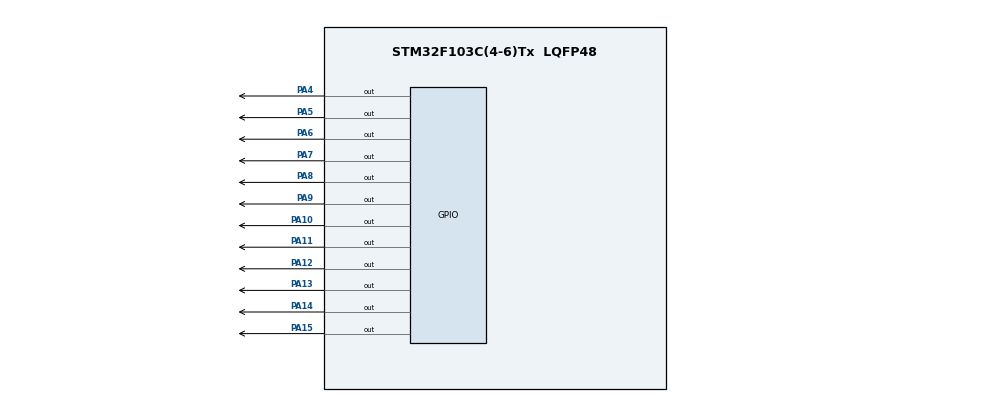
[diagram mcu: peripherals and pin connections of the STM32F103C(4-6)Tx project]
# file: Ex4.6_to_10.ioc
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Mcu.Family=STM32F1
Mcu.Name=STM32F103C(4-6)Tx
Mcu.Package=LQFP48
NVIC.PriorityGroup=NVIC_PRIORITYGROUP_4
PA10.Signal=GPIO_Output
PA11.Signal=GPIO_Output
PA12.Signal=GPIO_Output
PA13.Signal=GPIO_Output
PA14.Signal=GPIO_Output
PA15.Signal=GPIO_Output
PA4.Signal=GPIO_Output
PA5.Signal=GPIO_Output
PA6.Signal=GPIO_Output
PA7.Signal=GPIO_Output
PA8.Signal=GPIO_Output
PA9.Signal=GPIO_Output
PD0-OSC_IN.Mode=HSE-External-Oscillator
PD0-OSC_IN.Signal=RCC_OSC_IN
PD1-OSC_OUT.Mode=HSE-External-Oscillator
PD1-OSC_OUT.Signal=RCC_OSC_OUT
ProjectManager.HeapSize=0x200
ProjectManager.StackSize=0x400
ProjectManager.TargetToolchain=STM32CubeIDE
RCC.APB1Freq_Value=8000000
RCC.APB2Freq_Value=8000000
VP_SYS_VS_ND.Mode=No_Debug
board=custom

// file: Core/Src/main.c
/* USER CODE BEGIN Header */
/**
 ******************************************************************************
 * @file           : main.c
 * @brief          : Main program body
 ******************************************************************************
 * @attention
 *
 * <h2><center>&copy; Copyright (c) 2021 STMicroelectronics.
 * All rights reserved.</center></h2>
 *
 * This software component is licensed by ST under BSD 3-Clause license,
 * the "License"; You may not use this file except in compliance with the
 * License. You may obtain a copy of the License at:
 *                        opensource.org/licenses/BSD-3-Clause
 *
 ******************************************************************************
 */
/* USER CODE END Header */
#include "main.h"

void SystemClock_Config(void);
static void MX_GPIO_Init(void);

/* USER CODE BEGIN 0 */

const uint8_t hours[12][2] = { { 0x7D, 0x08 }, { 0x7B, 0x10 }, { 0x77, 0x10 }, {
		0x6F, 0x10 }, { 0x5F, 0x08 }, { 0x5F, 0x04 }, { 0x5F, 0x02 }, { 0x6F,
		0x01 }, { 0x77, 0x01 }, { 0x7B, 0x01 }, { 0x7D, 0x02 }, { 0x7D, 0x04 } };

void displayRow(uint8_t number) {
	HAL_GPIO_WritePin(GPIOA, GPIO_PIN_9, (number >> 0) & 0x01);
	HAL_GPIO_WritePin(GPIOA, GPIO_PIN_10, (number >> 1) & 0x01);
	HAL_GPIO_WritePin(GPIOA, GPIO_PIN_11, (number >> 2) & 0x01);
	HAL_GPIO_WritePin(GPIOA, GPIO_PIN_12, (number >> 3) & 0x01);
	HAL_GPIO_WritePin(GPIOA, GPIO_PIN_13, (number >> 4) & 0x01);
	HAL_GPIO_WritePin(GPIOA, GPIO_PIN_14, (number >> 5) & 0x01);
	HAL_GPIO_WritePin(GPIOA, GPIO_PIN_15, (number >> 6) & 0x01);
}
void displayCol(uint8_t number) {
	HAL_GPIO_WritePin(GPIOA, GPIO_PIN_4, (number >> 0) & 0x01);
	HAL_GPIO_WritePin(GPIOA, GPIO_PIN_5, (number >> 1) & 0x01);
	HAL_GPIO_WritePin(GPIOA, GPIO_PIN_6, (number >> 2) & 0x01);
	HAL_GPIO_WritePin(GPIOA, GPIO_PIN_7, (number >> 3) & 0x01);
	HAL_GPIO_WritePin(GPIOA, GPIO_PIN_8, (number >> 4) & 0x01);
}

const uint8_t row[7] = { 0xFE, 0xFD, 0xFB, 0xF7, 0xEF, 0xDF, 0xBF };
const uint8_t col[7] = { 0x00, 0x0E, 0x11, 0x11, 0x11, 0x0E, 0x00 };

void clearAllClock() {
	for (int i = 0; i < 7; i++) {
		displayRow(row[i]);
		displayCol(col[i]);
		HAL_Delay(1);
	}
}

void setNumberOnClock(int num) {
	displayRow(hours[num][0]);
	displayCol(hours[num][1]);
}

void clearNumberOnClock(int num) {
	switch (num) {
	case 0: {
		HAL_GPIO_WritePin(GPIOA, GPIO_PIN_7, GPIO_PIN_RESET);
		HAL_GPIO_WritePin(GPIOA, GPIO_PIN_10, GPIO_PIN_SET);
		break;
	}
	case 1: {
		HAL_GPIO_WritePin(GPIOA, GPIO_PIN_8, GPIO_PIN_RESET);
		HAL_GPIO_WritePin(GPIOA, GPIO_PIN_11, GPIO_PIN_SET);
		break;
	}
	case 2: {
		HAL_GPIO_WritePin(GPIOA, GPIO_PIN_8, GPIO_PIN_RESET);
		HAL_GPIO_WritePin(GPIOA, GPIO_PIN_12, GPIO_PIN_SET);
		break;
	}
	case 3: {
		HAL_GPIO_WritePin(GPIOA, GPIO_PIN_8, GPIO_PIN_RESET);
		HAL_GPIO_WritePin(GPIOA, GPIO_PIN_13, GPIO_PIN_SET);
		break;
	}
	case 4: {
		HAL_GPIO_WritePin(GPIOA, GPIO_PIN_7, GPIO_PIN_RESET);
		HAL_GPIO_WritePin(GPIOA, GPIO_PIN_14, GPIO_PIN_SET);
		break;
	}
	case 5: {
		HAL_GPIO_WritePin(GPIOA, GPIO_PIN_6, GPIO_PIN_RESET);
		HAL_GPIO_WritePin(GPIOA, GPIO_PIN_14, GPIO_PIN_SET);
		break;
	}
	case 6: {
		HAL_GPIO_WritePin(GPIOA, GPIO_PIN_5, GPIO_PIN_RESET);
		HAL_GPIO_WritePin(GPIOA, GPIO_PIN_14, GPIO_PIN_SET);
		break;
	}
	case 7: {
		HAL_GPIO_WritePin(GPIOA, GPIO_PIN_4, GPIO_PIN_RESET);
		HAL_GPIO_WritePin(GPIOA, GPIO_PIN_13, GPIO_PIN_SET);
		break;
	}
	case 8: {
		HAL_GPIO_WritePin(GPIOA, GPIO_PIN_4, GPIO_PIN_RESET);
		HAL_GPIO_WritePin(GPIOA, GPIO_PIN_12, GPIO_PIN_SET);
		break;
	}
	case 9: {
		HAL_GPIO_WritePin(GPIOA, GPIO_PIN_4, GPIO_PIN_RESET);
		HAL_GPIO_WritePin(GPIOA, GPIO_PIN_11, GPIO_PIN_SET);
		break;
	}
	case 10: {
		HAL_GPIO_WritePin(GPIOA, GPIO_PIN_5, GPIO_PIN_RESET);
		HAL_GPIO_WritePin(GPIOA, GPIO_PIN_10, GPIO_PIN_SET);
		break;
	}
	default: {
		HAL_GPIO_WritePin(GPIOA, GPIO_PIN_6, GPIO_PIN_RESET);
		HAL_GPIO_WritePin(GPIOA, GPIO_PIN_10, GPIO_PIN_SET);
		break;
	}
	}
}

/* USER CODE END 0 */

int main(void) {

	/* MCU Configuration--------------------------------------------------------*/

	/* Reset of all peripherals, Initializes the Flash interface and the Systick. */
	HAL_Init();

	/* Configure the system clock */
	SystemClock_Config();

	/* Initialize all configured peripherals */
	MX_GPIO_Init();

	/* Infinite loop */
	/* USER CODE BEGIN WHILE */
	int hour = 0, minute = 0, second = 0;
	while (1) {
		for (int i = 0; i < 100; i++) {
			setNumberOnClock(hour);
			HAL_Delay(10);
			setNumberOnClock(minute);
			HAL_Delay(10);
			setNumberOnClock(second);
			HAL_Delay(10);
		}
		second++;
		if (second == 12) {
			minute++;
			second = 0;
		}
		if (minute == 12) {
			hour++;
			minute = 0;
		}
		if (hour == 12) {
			hour = 0;
		}
	}
	/* USER CODE END 3 */
}

void SystemClock_Config(void) {
	RCC_OscInitTypeDef RCC_OscInitStruct = { 0 };
	RCC_ClkInitTypeDef RCC_ClkInitStruct = { 0 };

	/** Initializes the RCC Oscillators according to the specified parameters
	 * in the RCC_OscInitTypeDef structure.
	 */
	RCC_OscInitStruct.OscillatorType = RCC_OSCILLATORTYPE_HSI;
	RCC_OscInitStruct.HSIState = RCC_HSI_ON;
	RCC_OscInitStruct.HSICalibrationValue = RCC_HSICALIBRATION_DEFAULT;
	RCC_OscInitStruct.PLL.PLLState = RCC_PLL_NONE;
	if (HAL_RCC_OscConfig(&RCC_OscInitStruct) != HAL_OK) {
		Error_Handler();
	}
	/** Initializes the CPU, AHB and APB buses clocks
	 */
	RCC_ClkInitStruct.ClockType = RCC_CLOCKTYPE_HCLK | RCC_CLOCKTYPE_SYSCLK
			| RCC_CLOCKTYPE_PCLK1 | RCC_CLOCKTYPE_PCLK2;
	RCC_ClkInitStruct.SYSCLKSource = RCC_SYSCLKSOURCE_HSI;
	RCC_ClkInitStruct.AHBCLKDivider = RCC_SYSCLK_DIV1;
	RCC_ClkInitStruct.APB1CLKDivider = RCC_HCLK_DIV1;
	RCC_ClkInitStruct.APB2CLKDivider = RCC_HCLK_DIV1;

	if (HAL_RCC_ClockConfig(&RCC_ClkInitStruct, FLASH_LATENCY_0) != HAL_OK) {
		Error_Handler();
	}
}

static void MX_GPIO_Init(void) {
	GPIO_InitTypeDef GPIO_InitStruct = { 0 };

	/* GPIO Ports Clock Enable */
	__HAL_RCC_GPIOD_CLK_ENABLE();
	__HAL_RCC_GPIOA_CLK_ENABLE();

	/*Configure GPIO pin Output Level */
	HAL_GPIO_WritePin(GPIOA,
			GPIO_PIN_4 | GPIO_PIN_5 | GPIO_PIN_6 | GPIO_PIN_7 | GPIO_PIN_8
					| GPIO_PIN_9 | GPIO_PIN_10 | GPIO_PIN_11 | GPIO_PIN_12
					| GPIO_PIN_13 | GPIO_PIN_14 | GPIO_PIN_15, GPIO_PIN_RESET);

	/*Configure GPIO pins : PA4 PA5 PA6 PA7
	 PA8 PA9 PA10 PA11
	 PA12 PA13 PA14 PA15 */
	GPIO_InitStruct.Pin = GPIO_PIN_4 | GPIO_PIN_5 | GPIO_PIN_6 | GPIO_PIN_7
			| GPIO_PIN_8 | GPIO_PIN_9 | GPIO_PIN_10 | GPIO_PIN_11 | GPIO_PIN_12
			| GPIO_PIN_13 | GPIO_PIN_14 | GPIO_PIN_15;
	GPIO_InitStruct.Mode = GPIO_MODE_OUTPUT_PP;
	GPIO_InitStruct.Pull = GPIO_NOPULL;
	GPIO_InitStruct.Speed = GPIO_SPEED_FREQ_LOW;
	HAL_GPIO_Init(GPIOA, &GPIO_InitStruct);

}

void Error_Handler(void) {
	__disable_irq();
	while (1) {
	}
}

/************************ (C) COPYRIGHT STMicroelectronics *****END OF FILE****/
